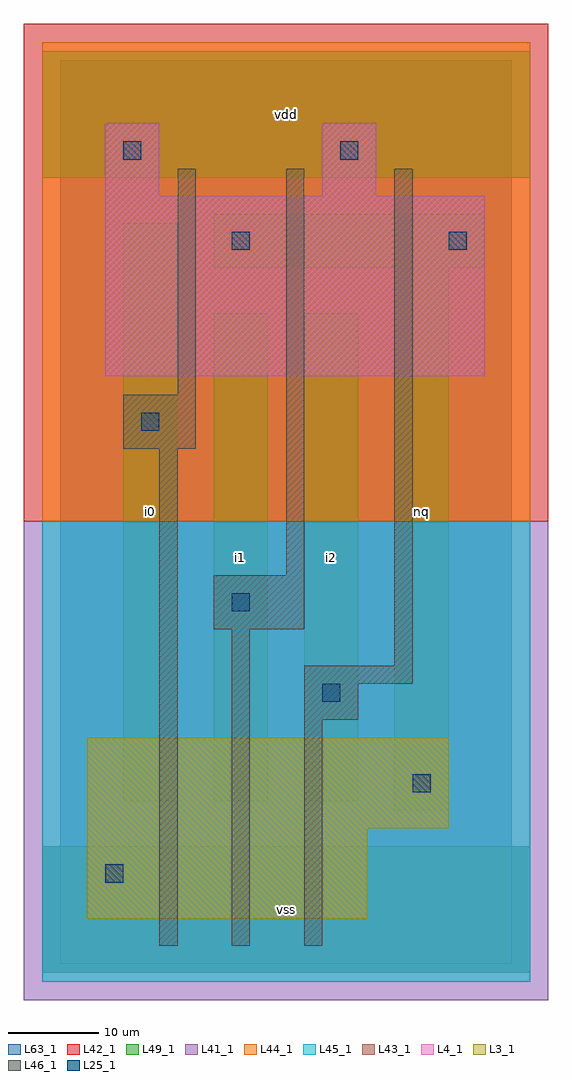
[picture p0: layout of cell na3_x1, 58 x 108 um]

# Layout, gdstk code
import gdstk
lib = gdstk.Library(unit=1e-6, precision=1e-09)
def R(c, l, rs):  # rectangles x0, y0, x1, y1
    for r in rs: c.add(gdstk.rectangle(r[:2], r[2:], *l))
L3_1 = (3, 1)
L4_1 = (4, 1)
L25_1 = (25, 1)
L41_1 = (41, 1)
L42_1 = (42, 1)
L43_1 = (43, 1)
L44_1 = (44, 1)
L45_1 = (45, 1)
L46_1 = (46, 1)
L49_1 = (49, 1)
L63_1 = (63, 1)

na3_x1 = lib.new_cell('na3_x1')
R(na3_x1, L3_1, [(3,5,34,15), (3,15,43,25)])
R(na3_x1, L4_1, [(5,65,47,85), (5,85,11,93), (29,85,35,93)])
R(na3_x1, L25_1, [(5,9,7,11), (39,19,41,21), (29,29,31,31), (19,39,21,41), (9,59,11,61), (19,79,21,81), (43,79,45,81), (7,89,9,91), (31,89,33,91)])
R(na3_x1, L41_1, [(-4,-4,54,49)])
R(na3_x1, L42_1, [(-4,49,54,104)])
R(na3_x1, L43_1, [(3,5,34,15), (3,15,43,25), (5,65,47,85), (5,85,11,93), (29,85,35,93)])
R(na3_x1, L44_1, [(-2,49,52,102)])
R(na3_x1, L45_1, [(-2,-2,52,49)])
R(na3_x1, L46_1, [(11,2,13,57), (19,2,21,37), (27,2,29,27), (27,27,33,31), (27,31,39,33), (37,33,39,88), (17,37,27,43), (25,43,27,88), (7,57,15,63), (13,63,15,88)])
R(na3_x1, L49_1, [(-2,-1,52,13), (37,17,43,77), (7,18,13,82), (17,18,23,72), (27,18,33,72), (17,77,47,83), (-2,87,52,101)])
R(na3_x1, L63_1, [(0,0,50,100)])
na3_x1.add(gdstk.Label('i1', (20,45), layer=49, texttype=1))
na3_x1.add(gdstk.Label('i1', (20,45), layer=49, texttype=1))
na3_x1.add(gdstk.Label('i0', (10,50), layer=49, texttype=1))
na3_x1.add(gdstk.Label('i0', (10,50), layer=49, texttype=1))
na3_x1.add(gdstk.Label('vss', (25,6), layer=49, texttype=1))
na3_x1.add(gdstk.Label('vss', (25,6), layer=49, texttype=1))
na3_x1.add(gdstk.Label('i2', (30,45), layer=49, texttype=1))
na3_x1.add(gdstk.Label('i2', (30,45), layer=49, texttype=1))
na3_x1.add(gdstk.Label('vdd', (25,94), layer=49, texttype=1))
na3_x1.add(gdstk.Label('vdd', (25,94), layer=49, texttype=1))
na3_x1.add(gdstk.Label('nq', (40,50), layer=49, texttype=1))
na3_x1.add(gdstk.Label('nq', (40,50), layer=49, texttype=1))

lib.write_gds('na3_x1.gds')
